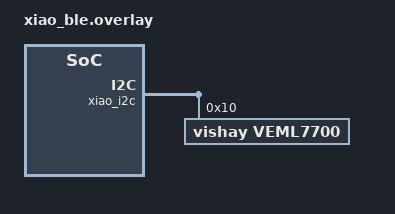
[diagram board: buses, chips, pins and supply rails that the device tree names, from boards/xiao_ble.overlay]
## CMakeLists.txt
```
cmake_minimum_required(VERSION 3.20.0)
find_package(Zephyr REQUIRED HINTS $ENV{ZEPHYR_BASE})
project(veml7700)
target_sources(app PRIVATE src/main.c)
```

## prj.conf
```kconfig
# VEML7700 on I2C, wiring in boards/<board>.overlay.
CONFIG_I2C=y
CONFIG_SENSOR=y
CONFIG_VEML7700=y

# Shell on the console (USB CDC on the XIAO BLE): `als sweep`.
CONFIG_SHELL=y
CONFIG_MAIN_STACK_SIZE=2048
CONFIG_SHELL_STACK_SIZE=2048

# BLE beacon (non-connectable advertising, broadcaster only).
CONFIG_BT=y
CONFIG_BT_BROADCASTER=y
CONFIG_BT_DEVICE_NAME="veml7700"
```

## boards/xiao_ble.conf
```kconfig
# XIAO BLE: console on USB CDC (the board definition already provides the
# CDC node as console).
CONFIG_USB_DEVICE_STACK_NEXT=y
CONFIG_CDC_ACM_SERIAL_INITIALIZE_AT_BOOT=y
CONFIG_UART_LINE_CTRL=y
CONFIG_USBD_CDC_ACM_CLASS=y

# Lux and the correction polynomial are float maths; use the M4F's FPU.
CONFIG_FPU=y
```

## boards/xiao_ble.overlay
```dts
/*
 * XIAO BLE (nRF52840): Adafruit VEML7700 breakout on the XIAO I2C pins
 * (D4 = SDA, D5 = SCL), 3V3, GND - or the STEMMA QT cable. The breakout
 * has its own pull-ups. Fixed address 0x10.
 *
 * psm-mode 0 (default): power saving off, so the driver runs in single-shot
 * mode - every sensor_sample_fetch() powers the sensor up, waits twice the
 * integration time and shuts it down again.
 */
&xiao_i2c {
	veml7700: veml7700@10 {
		compatible = "vishay,veml7700";
		reg = <0x10>;
	};
};
```

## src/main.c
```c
/*
 * VEML7700 ambient light, read every 10 s, printed to the console and sent
 * in a BLE beacon (see advertise() for the format; tools/ble_logger.py
 * receives it). The sensor node (label veml7700) comes from
 * boards/<board>.overlay.
 *
 * Auto-ranging and the non-linearity correction follow Vishay's application
 * note "Designing the VEML7700 Into an Application" (doc. 84323): start at
 * the lowest gain, raise gain before integration time, use only gain 1/8
 * and 1/4 for bright light and correct those readings with the note's
 * polynomial. Lux is computed here from the raw counts - the driver's own
 * lux value is whole lux only.
 *
 * The driver measures single-shot and waits twice the integration time;
 * the longest range (400 ms) takes ~810 ms per fetch.
 */
#include <zephyr/kernel.h>
#include <zephyr/device.h>
#include <zephyr/drivers/sensor.h>
#include <zephyr/drivers/sensor/veml7700.h>
#include <zephyr/shell/shell.h>
#include <zephyr/sys/atomic.h>
#include <zephyr/sys/byteorder.h>
#include <zephyr/bluetooth/bluetooth.h>

#define PERIOD_MS 10000

static const struct device *const veml7700 = DEVICE_DT_GET(DT_NODELABEL(veml7700));

/* Range steps from least to most sensitive, each about 2x (one 4x) the previous. */
static const struct range {
	enum veml7700_als_gain gain;
	enum veml7700_als_it it;
	float res;		/* lx per count, from the datasheet's resolution table */
	const char *name;
} ranges[] = {
	{VEML7700_ALS_GAIN_1_8, VEML7700_ALS_IT_25, 1.8432f, "1/8 25 ms"},
	{VEML7700_ALS_GAIN_1_8, VEML7700_ALS_IT_50, 0.9216f, "1/8 50 ms"},
	{VEML7700_ALS_GAIN_1_8, VEML7700_ALS_IT_100, 0.4608f, "1/8 100 ms"},
	{VEML7700_ALS_GAIN_1_4, VEML7700_ALS_IT_100, 0.2304f, "1/4 100 ms"},
	{VEML7700_ALS_GAIN_1, VEML7700_ALS_IT_100, 0.0576f, "1 100 ms"},
	{VEML7700_ALS_GAIN_2, VEML7700_ALS_IT_100, 0.0288f, "2 100 ms"},
	{VEML7700_ALS_GAIN_2, VEML7700_ALS_IT_200, 0.0144f, "2 200 ms"},
	{VEML7700_ALS_GAIN_2, VEML7700_ALS_IT_400, 0.0072f, "2 400 ms"},
};

#define RANGE_START   2		/* gain 1/8, 100 ms: the note's starting point */
#define RANGE_LOW_GAIN 3	/* steps 0..3 use gain 1/8 or 1/4 */

/*
 * Keep the ALS counts in [COUNTS_LOW, COUNTS_HIGH]. 10000 is the note's
 * threshold for shortening the integration time; it also keeps gain 1 and 2
 * below ~580 lx, inside their linear range. The band is wider than the
 * largest step (4x), so a range change never lands outside it.
 */
#define COUNTS_LOW  1000
#define COUNTS_HIGH 10000
#define COUNTS_SAT  65535

static int set_range(int r)
{
	struct sensor_value v = {.val1 = ranges[r].gain};
	int err = sensor_attr_set(veml7700, SENSOR_CHAN_LIGHT,
				  (enum sensor_attribute)SENSOR_ATTR_VEML7700_GAIN, &v);

	if (err == 0) {
		v.val1 = ranges[r].it;
		err = sensor_attr_set(veml7700, SENSOR_CHAN_LIGHT,
				      (enum sensor_attribute)SENSOR_ATTR_VEML7700_ITIME, &v);
	}
	return err;
}

/* The most sensitive range in which the same light gives at most COUNTS_HIGH counts. */
static int pick_range(int r, uint32_t counts)
{
	float lux = counts * ranges[r].res;
	int best = 0;

	for (int i = 0; i < ARRAY_SIZE(ranges); i++) {
		if (lux / ranges[i].res <= COUNTS_HIGH) {
			best = i;
		}
	}
	return best;
}

/* Application note, fig. 10 and 24: x is the uncorrected lux, gain 1/8 and 1/4 only. */
static float correct_lux(float x)
{
	return (((6.0135e-13f * x - 9.3924e-9f) * x + 8.1488e-5f) * x + 1.0023f) * x;
}

static void print_milli(float lux)
{
	uint32_t m = (uint32_t)(lux * 1000.0f + 0.5f);

	printk("%u.%03u", m / 1000, m % 1000);
}

/*
 * `als sweep`: measure the same light in every range, to compare them. The
 * shell only sets a flag; the sweep runs in main() so the 1 Hz loop and the
 * sweep never use the sensor at the same time. Keep the light steady.
 */
#define SWEEP_FETCHES 4

static atomic_t sweep_req;

static void sweep(void)
{
	printk("sweep: range, ALS counts of %d fetches, mean lux (corrected)\n", SWEEP_FETCHES);

	for (int r = 0; r < ARRAY_SIZE(ranges); r++) {
		uint32_t sum = 0;
		bool sat = false;

		set_range(r);
		printk("%-10s", ranges[r].name);
		for (int i = 0; i < SWEEP_FETCHES; i++) {
			struct sensor_value als = {0};

			if (sensor_sample_fetch(veml7700) == 0) {
				sensor_channel_get(veml7700,
						   (enum sensor_channel)SENSOR_CHAN_VEML7700_RAW_COUNTS,
						   &als);
			}
			printk(" %5d", als.val1);
			sum += als.val1;
			sat |= als.val1 >= COUNTS_SAT;
		}
		if (sat) {
			printk("  SATURATED\n");
			continue;
		}

		float lux = (float)sum / SWEEP_FETCHES * ranges[r].res;

		printk("  ");
		print_milli(lux);
		if (r <= RANGE_LOW_GAIN) {
			printk(" (");
			print_milli(correct_lux(lux));
			printk(")");
		}
		printk("\n");
	}
}

static int cmd_sweep(const struct shell *sh, size_t argc, char **argv)
{
	atomic_set(&sweep_req, 1);
	shell_print(sh, "sweep starts after the current period (up to 10 s), takes ~8 s");
	return 0;
}

SHELL_STATIC_SUBCMD_SET_CREATE(als_cmds,
	SHELL_CMD(sweep, NULL, "Measure in every range (keep the light steady)", cmd_sweep),
	SHELL_SUBCMD_SET_END);
SHELL_CMD_REGISTER(als, &als_cmds, "VEML7700 ambient light", NULL);

/*
 * Beacon: non-connectable advertising every ~1 s, so each 10 s sample is
 * sent ~10 times. Manufacturer data, little-endian:
 *   0..1  company ID 0xFFFF (reserved for testing)
 *   2     format version (1)
 *   3..6  uptime of the sample [s] - unique per sample, the receiver
 *         drops repeats by it
 *   7..8  ALS counts
 *   9..10 white counts
 *   11    range index into ranges[] (0xFF: fetch failed)
 */
static uint8_t mfg[12] = {0xff, 0xff, 1};

static const struct bt_data ad[] = {
	BT_DATA_BYTES(BT_DATA_FLAGS, BT_LE_AD_NO_BREDR),
	BT_DATA(BT_DATA_MANUFACTURER_DATA, mfg, sizeof(mfg)),
	BT_DATA(BT_DATA_NAME_COMPLETE, CONFIG_BT_DEVICE_NAME, sizeof(CONFIG_BT_DEVICE_NAME) - 1),
};

static const struct bt_le_adv_param adv_param =
	BT_LE_ADV_PARAM_INIT(BT_LE_ADV_OPT_USE_IDENTITY, BT_GAP_MS_TO_ADV_INTERVAL(1000),
			     BT_GAP_MS_TO_ADV_INTERVAL(1024), NULL);

static void advertise(uint32_t uptime, uint16_t als, uint16_t white, uint8_t range)
{
	static bool started;
	int err;

	sys_put_le32(uptime, &mfg[3]);
	sys_put_le16(als, &mfg[7]);
	sys_put_le16(white, &mfg[9]);
	mfg[11] = range;

	if (started) {
		err = bt_le_adv_update_data(ad, ARRAY_SIZE(ad), NULL, 0);
	} else {
		err = bt_le_adv_start(&adv_param, ad, ARRAY_SIZE(ad), NULL, 0);
		started = (err == 0);
	}
	if (err) {
		printk("advertising failed: %d\n", err);
	}
}

int main(void)
{
	if (!device_is_ready(veml7700)) {
		printk("VEML7700 not ready - check wiring (D4 SDA, D5 SCL, 3V3, GND)\n");
		return 0;
	}

	int err = bt_enable(NULL);

	if (err) {
		printk("Bluetooth init failed: %d\n", err);
	}

	int r = RANGE_START;
	int64_t next = k_uptime_get();

	set_range(r);

	while (1) {
		if (atomic_cas(&sweep_req, 1, 0)) {
			sweep();
			set_range(r);
			next = k_uptime_get();
		}

		struct sensor_value als, white;
		uint32_t uptime = k_uptime_get_32() / 1000;

		err = sensor_sample_fetch(veml7700);
		if (err != 0) {
			printk("[%u s] VEML7700 error %d\n", uptime, err);
			advertise(uptime, 0, 0, 0xff);
			goto wait;
		}

		sensor_channel_get(veml7700, (enum sensor_channel)SENSOR_CHAN_VEML7700_RAW_COUNTS,
				   &als);
		sensor_channel_get(veml7700,
				   (enum sensor_channel)SENSOR_CHAN_VEML7700_WHITE_RAW_COUNTS, &white);

		if (als.val1 >= COUNTS_SAT && r > 0) {
			/* Saturated: no idea how bright, go to the least sensitive
			 * range and measure again right away (25 ms takes ~55 ms).
			 */
			r = 0;
			set_range(r);
			continue;
		}

		advertise(uptime, als.val1, white.val1, r);

		float lux = als.val1 * ranges[r].res;

		printk("[%u s] ", uptime);
		if (r <= RANGE_LOW_GAIN) {
			print_milli(correct_lux(lux));
			printk(" lx (uncorrected ");
			print_milli(lux);
			printk(")");
		} else {
			print_milli(lux);
			printk(" lx");
		}
		printk(", ALS %d, white %d, range %s%s\n", als.val1, white.val1, ranges[r].name,
		       als.val1 >= COUNTS_SAT ? ", SATURATED" : "");

		if (als.val1 < COUNTS_LOW || als.val1 > COUNTS_HIGH) {
			int nr = pick_range(r, als.val1);

			if (nr != r) {
				r = nr;
				set_range(r);
			}
		}

wait:
		next += PERIOD_MS;
		k_sleep(K_TIMEOUT_ABS_MS(next));
	}

	return 0;
}
```
